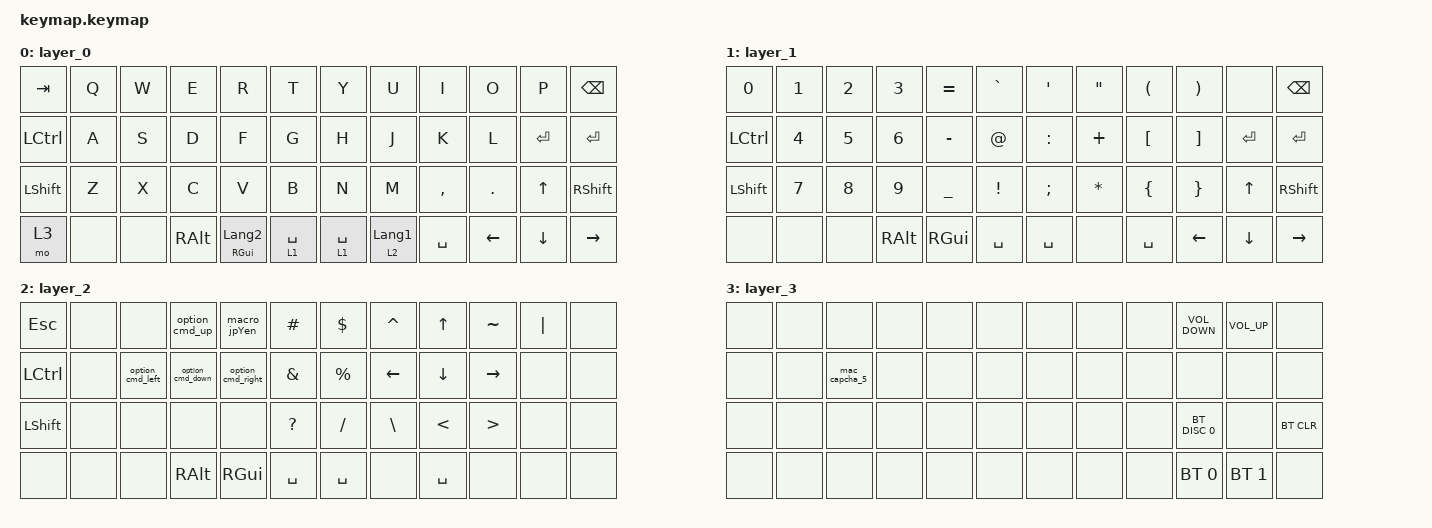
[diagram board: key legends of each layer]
#include <behaviors.dtsi>
#include <dt-bindings/zmk/bt.h>
#include <dt-bindings/zmk/keys.h>

// OS設定を日本語キーボードのまま使用するための変換定義

#define JP_DQUOTE       AT                // "
#define JP_AMPERSAND    CARET             // &
#define JP_QUOTE        AMPERSAND         // '
#define JP_EQUAL        UNDER             // =
#define JP_CARET        EQUAL             // ^
#define JP_YEN          0x89              // ¥
#define JP_PLUS         COLON             // +
#define JP_TILDE        PLUS              // ~
#define JP_PIPE         LS(0x89)          // |
#define JP_AT           LEFT_BRACKET      // @
#define JP_COLON        SINGLE_QUOTE      // :
#define JP_ASTERISK     DOUBLE_QUOTES     // *
#define JP_BACKQUOTE    LEFT_BRACE        // `
#define JP_UNDERSCORE   LS(0x87)          // _
#define JP_LBRACKET     RIGHT_BRACKET     // [
#define JP_RBRACKET     BACKSLASH         // ]
#define JP_LPAREN       ASTERISK          // (
#define JP_RPAREN       LEFT_PARENTHESIS  // )
#define JP_LBRACE       RIGHT_BRACE       // {
#define JP_RBRACE       PIPE              // }
#define JP_KANA         LANGUAGE_1        // かな
#define JP_EISU         LANGUAGE_2        // 英数
#define JP_HANZEN       GRAVE             // 半角/全角
#define JP_BACKSLASH    RA(0x89)          // \

/ {
    macros {
        option_cmd_up: option_cmd_up {
            compatible = "zmk,behavior-macro";
            #binding-cells = <0>;
            bindings =
                <&macro_press>,
                <&kp RIGHT_ALT &kp RIGHT_GUI>,
                <&macro_tap>,
                <&kp UP_ARROW>,
                <&macro_release>,
                <&kp RIGHT_ALT &kp RIGHT_GUI>;

            label = "OPTION_CMD_UP";
        };

        option_cmd_right: option_cmd_right {
            compatible = "zmk,behavior-macro";
            #binding-cells = <0>;
            bindings =
                <&macro_press>,
                <&kp RIGHT_ALT &kp RIGHT_GUI>,
                <&macro_tap>,
                <&kp RIGHT_ARROW>,
                <&macro_release>,
                <&kp RIGHT_ALT &kp RIGHT_GUI>;

            label = "OPTION_CMD_RIGHT";
        };

        option_cmd_down: option_cmd_down {
            compatible = "zmk,behavior-macro";
            #binding-cells = <0>;
            bindings =
                <&macro_press>,
                <&kp RIGHT_ALT &kp RIGHT_GUI>,
                <&macro_tap>,
                <&kp DOWN_ARROW>,
                <&macro_release>,
                <&kp RIGHT_ALT &kp RIGHT_GUI>;

            label = "OPTION_CMD_DOWN";
        };

        option_cmd_left: option_cmd_left {
            compatible = "zmk,behavior-macro";
            #binding-cells = <0>;
            bindings =
                <&macro_press>,
                <&kp RIGHT_ALT &kp RIGHT_GUI>,
                <&macro_tap>,
                <&kp LEFT_ARROW>,
                <&macro_release>,
                <&kp RIGHT_ALT &kp RIGHT_GUI>;

            label = "OPTION_CMD_LEFT";
        };

        mac_capcha_5: mac_capcha_5 {
            compatible = "zmk,behavior-macro";
            #binding-cells = <0>;
            bindings =
                <&macro_press>,
                <&kp LEFT_SHIFT &kp RIGHT_GUI>,
                <&macro_tap>,
                <&kp NUMBER_5>,
                <&macro_release>,
                <&kp LEFT_SHIFT &kp RIGHT_GUI>;

            label = "MAC_CAPCHA_5";
        };

        macro_jpYen: macro_jpYen {
            compatible = "zmk,behavior-macro";
            #binding-cells = <0>;
            bindings =
                <&macro_press>,
                <&kp RIGHT_ALT>,
                <&macro_tap>,
                <&kp Y>,
                <&macro_release>,
                <&kp RIGHT_ALT>;

            label = "MACRO_JPYEN";
        };
    };

    keymap {
        compatible = "zmk,keymap";

        layer_0 {
            bindings = <
&kp TAB         &kp Q  &kp W  &kp E          &kp R                  &kp T               &kp Y        &kp U          &kp I      &kp O           &kp P           &kp BACKSPACE
&kp LCTRL       &kp A  &kp S  &kp D          &kp F                  &kp G               &kp H        &kp J          &kp K      &kp L           &kp ENTER       &kp ENTER
&kp LEFT_SHIFT  &kp Z  &kp X  &kp C          &kp V                               &kp B  &kp N        &kp M          &kp COMMA  &kp PERIOD      &kp UP_ARROW    &kp RIGHT_SHIFT
&mo 3           &none  &none  &kp RIGHT_ALT  &mt RIGHT_GUI JP_EISU  &lt 1 SPACE         &lt 1 SPACE  &lt 2 JP_KANA  &kp SPACE  &kp LEFT_ARROW  &kp DOWN_ARROW  &kp RIGHT_ARROW
            >;
        };

        layer_1 {
            bindings = <
&kp NUMBER_0    &kp NUMBER_1  &kp NUMBER_2  &kp NUMBER_3   &kp EQUAL       &kp GRAVE            &kp SINGLE_QUOTE  &kp DOUBLE_QUOTES  &kp LEFT_PARENTHESIS  &kp RIGHT_PARENTHESIS  &none           &kp BACKSPACE
&kp LCTRL       &kp NUMBER_4  &kp NUMBER_5  &kp NUMBER_6   &kp MINUS       &kp AT               &kp COLON         &kp PLUS           &kp LEFT_BRACKET      &kp RIGHT_BRACKET      &kp ENTER       &kp ENTER
&kp LEFT_SHIFT  &kp NUMBER_7  &kp NUMBER_8  &kp NUMBER_9   &kp UNDERSCORE             &kp EXCL  &kp SEMI          &kp ASTRK          &kp LEFT_BRACE        &kp RIGHT_BRACE        &kp UP_ARROW    &kp RIGHT_SHIFT
&none           &none         &none         &kp RIGHT_ALT  &kp RIGHT_GUI   &kp SPACE            &kp SPACE         &none              &kp SPACE             &kp LEFT_ARROW         &kp DOWN_ARROW  &kp RIGHT_ARROW
            >;
        };

        layer_2 {
            bindings = <
&kp ESCAPE      &none  &none             &option_cmd_up    &macro_jpYen       &kp HASH                     &kp DOLLAR   &kp CARET       &kp UP_ARROW    &kp TILDE         &kp PIPE  &none
&kp LCTRL       &none  &option_cmd_left  &option_cmd_down  &option_cmd_right  &kp AMPERSAND                &kp PERCENT  &kp LEFT_ARROW  &kp DOWN_ARROW  &kp RIGHT_ARROW   &none     &none
&kp LEFT_SHIFT  &none  &none             &none             &none                             &kp QUESTION  &kp SLASH    &kp BACKSLASH   &kp LESS_THAN   &kp GREATER_THAN  &none     &none
&none           &none  &none             &kp RIGHT_ALT     &kp RIGHT_GUI      &kp SPACE                    &kp SPACE    &none           &kp SPACE       &none             &none     &none
            >;
        };

        layer_3 {
            bindings = <
&none  &none  &none          &none  &none  &none         &none  &none  &none  &kp C_VOLUME_DOWN  &kp K_VOLUME_UP  &none
&none  &none  &mac_capcha_5  &none  &none  &none         &none  &none  &none  &none              &none            &none
&none  &none  &none          &none  &none         &none  &none  &none  &none  &bt BT_DISC 0      &none            &bt BT_CLR
&none  &none  &none          &none  &none  &none         &none  &none  &none  &bt BT_SEL 0       &bt BT_SEL 1     &none
            >;
        };
    };
};
